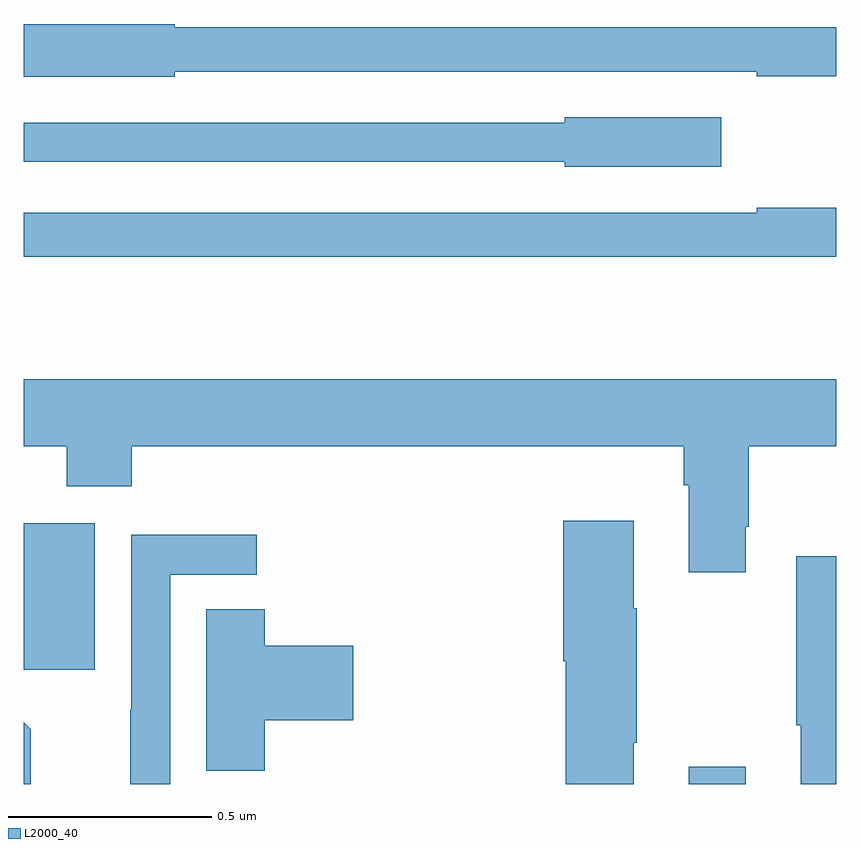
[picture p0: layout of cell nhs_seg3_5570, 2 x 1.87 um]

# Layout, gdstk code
import gdstk
lib = gdstk.Library(unit=1e-6, precision=1e-09)
def R(c, l, rs):  # rectangles x0, y0, x1, y1
    for r in rs: c.add(gdstk.rectangle(r[:2], r[2:], *l))
def P(c, l, *ps):  # polygons
    for p in ps: c.add(gdstk.Polygon(p, *l))
L2000_40 = (2000, 40)

nhs_seg3_5570 = lib.new_cell('nhs_seg3_5570')
R(nhs_seg3_5570, L2000_40, [(181.637,717.4,181.777,717.442), (180,717.681,180.175,718.042)])
P(nhs_seg3_5570, L2000_40, [(180.372,719.154),(181.804,719.154),(181.804,719.142),(182,719.142),(182,719.263),(180.372,719.263),(180.372,719.271),(180,719.271),(180,719.141),(180.372,719.141)],
  [(181.717,719.041),(181.332,719.041),(181.332,719.028),(180,719.028),(180,718.932),(181.332,718.932),(181.332,718.919),(181.717,718.919)],
  [(182,718.819),(181.804,718.819),(181.804,718.806),(180,718.806),(180,718.698),(182,718.698)],
  [(181.777,718.033),(181.785,718.033),(181.785,718.232),(182,718.232),(182,718.396),(180,718.396),(180,718.232),(180.106,718.232),(180.106,718.133),(180.266,718.133),(180.266,718.232),(181.625,718.232),(181.625,718.136),(181.637,718.136),(181.637,717.921),(181.777,717.921)],
  [(181.501,717.502),(181.509,717.502),(181.509,717.833),(181.501,717.833),(181.501,718.048),(181.328,718.048),(181.328,717.702),(181.334,717.702),(181.334,717.4),(181.501,717.4)],
  [(180.36,717.915),(180.574,717.915),(180.574,718.014),(180.264,718.014),(180.264,717.584),(180.262,717.584),(180.262,717.4),(180.36,717.4)],
  [(182,717.961),(181.902,717.961),(181.902,717.545),(181.913,717.545),(181.913,717.4),(182,717.4)],
  [(180.593,717.557),(180.811,717.557),(180.811,717.74),(180.593,717.74),(180.593,717.83),(180.449,717.83),(180.449,717.433),(180.593,717.433)],
  [(180.017,717.535),(180,717.552),(180,717.4),(180.017,717.4)])

lib.write_gds('nhs_seg3_5570.gds')
